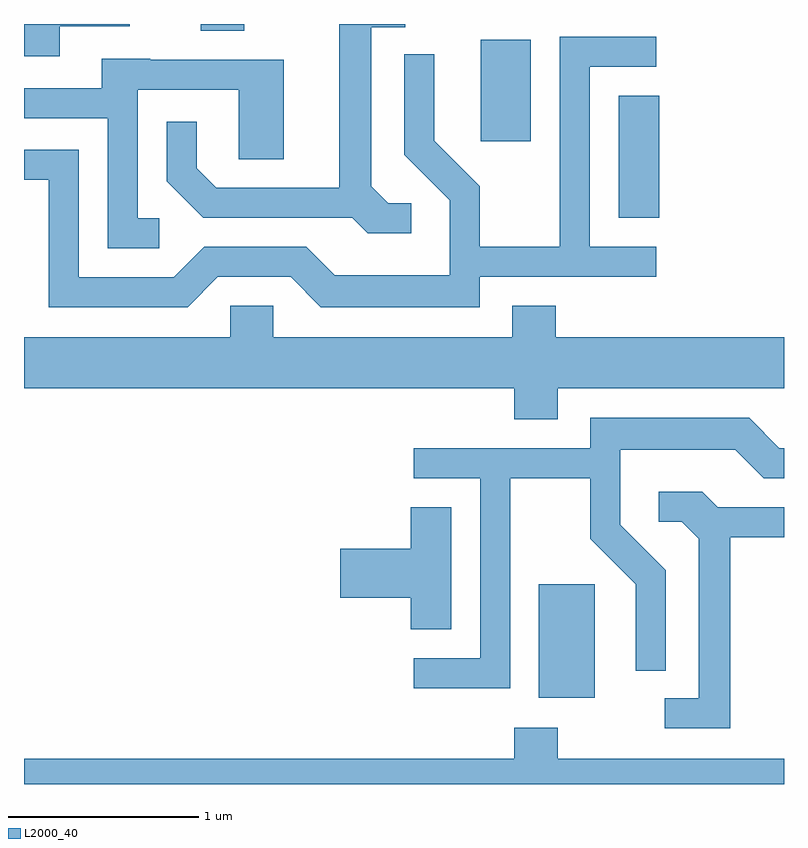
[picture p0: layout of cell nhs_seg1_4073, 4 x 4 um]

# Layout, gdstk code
import gdstk
lib = gdstk.Library(unit=1e-6, precision=1e-09)
def R(c, l, rs):  # rectangles x0, y0, x1, y1
    for r in rs: c.add(gdstk.rectangle(r[:2], r[2:], *l))
def P(c, l, *ps):  # polygons
    for p in ps: c.add(gdstk.Polygon(p, *l))
L2000_40 = (2000, 40)

nhs_seg1_4073 = lib.new_cell('nhs_seg1_4073')
R(nhs_seg1_4073, L2000_40, [(310.321,900.166,310.614,900.764), (310.741,902.691,310.954,903.334), (310.016,903.096,310.279,903.629), (308.541,903.676,308.769,903.712)])
P(nhs_seg1_4073, L2000_40, [(309.648,902.769),(309.527,902.769),(309.439,902.857),(309.439,903.696),(309.618,903.696),(309.618,903.712),(309.271,903.712),(309.271,902.849),(308.622,902.849),(308.519,902.952),(308.519,903.198),(308.361,903.198),(308.361,902.884),(308.554,902.691),(309.339,902.691),(309.419,902.611),(309.648,902.611)],
  [(307.799,903.701),(308.168,903.701),(308.168,903.712),(307.611,903.712),(307.611,903.541),(307.799,903.541)],
  [(308.632,902.381),(309.014,902.381),(309.174,902.221),(310.009,902.221),(310.009,902.381),(310.938,902.381),(310.938,902.539),(310.589,902.539),(310.589,903.486),(310.938,903.486),(310.938,903.644),(310.431,903.644),(310.431,902.539),(310.009,902.539),(310.009,902.857),(309.769,903.097),(309.769,903.553),(309.611,903.553),(309.611,903.024),(309.851,902.784),(309.851,902.389),(309.247,902.389),(309.097,902.539),(308.559,902.539),(308.399,902.379),(307.899,902.379),(307.899,903.049),(307.611,903.049),(307.611,902.891),(307.741,902.891),(307.741,902.221),(308.472,902.221)],
  [(308.323,902.689),(308.209,902.689),(308.209,903.366),(308.741,903.366),(308.741,903.001),(308.979,903.001),(308.979,903.524),(308.275,903.524),(308.275,903.529),(308.021,903.529),(308.021,903.374),(307.611,903.374),(307.611,903.216),(308.051,903.216),(308.051,902.531),(308.323,902.531)],
  [(310.419,901.796),(311.611,901.796),(311.611,902.064),(310.409,902.064),(310.409,902.229),(310.181,902.229),(310.181,902.064),(308.924,902.064),(308.924,902.229),(308.696,902.229),(308.696,902.064),(307.611,902.064),(307.611,901.796),(310.191,901.796),(310.191,901.631),(310.419,901.631)],
  [(310.169,901.321),(310.591,901.321),(310.591,901.004),(310.831,900.764),(310.831,900.308),(310.989,900.308),(310.989,900.837),(310.749,901.077),(310.749,901.471),(311.354,901.471),(311.504,901.321),(311.611,901.321),(311.611,901.479),(311.587,901.479),(311.427,901.639),(310.591,901.639),(310.591,901.479),(309.663,901.479),(309.663,901.321),(310.011,901.321),(310.011,900.374),(309.663,900.374),(309.663,900.216),(310.169,900.216)],
  [(311.329,901.011),(311.611,901.011),(311.611,901.169),(311.262,901.169),(311.182,901.249),(310.953,901.249),(310.953,901.091),(311.074,901.091),(311.161,901.004),(311.161,900.164),(310.983,900.164),(310.983,900.006),(311.329,900.006)],
  [(309.859,901.169),(309.646,901.169),(309.646,900.949),(309.276,900.949),(309.276,900.691),(309.646,900.691),(309.646,900.526),(309.859,900.526)],
  [(311.611,899.844),(310.419,899.844),(310.419,900.009),(310.191,900.009),(310.191,899.844),(307.611,899.844),(307.611,899.712),(311.611,899.712)])

lib.write_gds('nhs_seg1_4073.gds')
